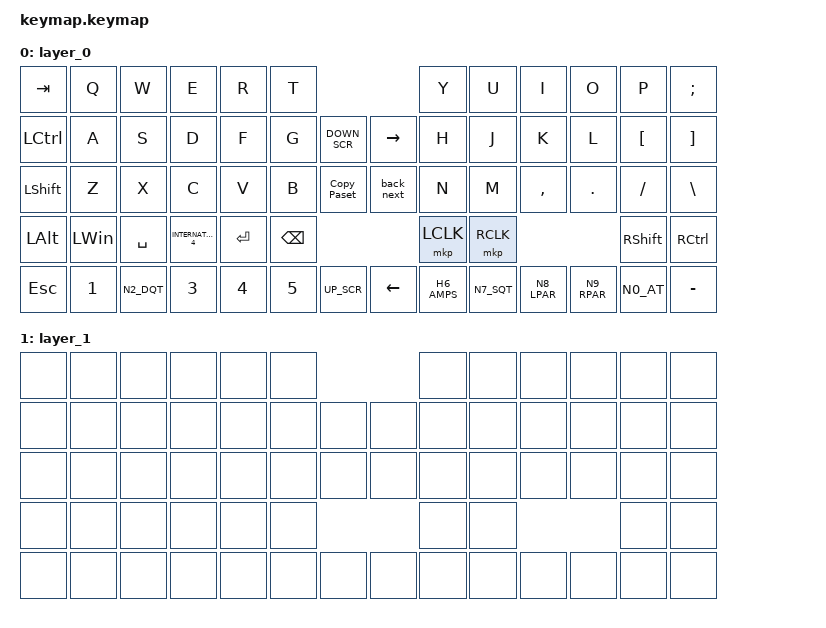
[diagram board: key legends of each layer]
#include <behaviors.dtsi>
#include <dt-bindings/zmk/keys.h>
#include <dt-bindings/zmk/pointing.h>

/ {
    behaviors {
        N2_DQT: N2_DQT {
            compatible = "zmk,behavior-mod-morph";
            label = "N2_DQT";
            bindings = <&kp KP_NUMBER_2>, <&kp DQT>;

            #binding-cells = <0>;
            mods = <(MOD_RSFT|MOD_LSFT)>;
        };

        H6_AMPS: H6_AMPS {
            compatible = "zmk,behavior-mod-morph";
            label = "H6_AMPS";
            bindings = <&kp KP_N6>, <&kp AMPS>;

            #binding-cells = <0>;
            mods = <(MOD_LSFT|MOD_RSFT)>;
        };

        N7_SQT: N7_SQT {
            compatible = "zmk,behavior-mod-morph";
            label = "N7_SQT";
            bindings = <&kp KP_N7>, <&kp SQT>;

            #binding-cells = <0>;
            mods = <(MOD_LSFT|MOD_RSFT)>;
        };

        N8_LPAR: N8_LPAR {
            compatible = "zmk,behavior-mod-morph";
            label = "N8_LPAR";
            bindings = <&kp KP_N8>, <&kp LPAR>;

            #binding-cells = <0>;
            mods = <(MOD_LSFT|MOD_RSFT)>;
        };

        N9_RPAR: N9_RPAR {
            compatible = "zmk,behavior-mod-morph";
            label = "N9_RPAR";
            bindings = <&kp KP_N9>, <&kp RPAR>;

            #binding-cells = <0>;
            mods = <(MOD_LSFT|MOD_RSFT)>;
        };

        N0_AT: N0_AT {
            compatible = "zmk,behavior-mod-morph";
            label = "N0_AT";
            bindings = <&kp KP_N0>, <&kp AT>;

            #binding-cells = <0>;
            mods = <(MOD_LSFT|MOD_RSFT)>;
        };

        UP_SCR: UP_SCR {
            compatible = "zmk,behavior-mod-morph";
            label = "UP_SCR";
            bindings = <&kp UP>, <&kp K_SCROLL_UP>;

            #binding-cells = <0>;
            mods = <(MOD_LSFT|MOD_RCTL)>;
        };

        DOWN_SCR: DOWN_SCR {
            compatible = "zmk,behavior-mod-morph";
            label = "DOWN_SCR";
            bindings = <&kp DOWN>, <&kp K_SCROLL_DOWN>;

            #binding-cells = <0>;
            mods = <(MOD_LSFT|MOD_RSFT)>;
        };

        Copy_Paset: Copy_Paset {
            compatible = "zmk,behavior-mod-morph";
            label = "COPY_PASET";
            bindings = <&kp K_COPY>, <&kp K_PASTE>;

            #binding-cells = <0>;
            mods = <(MOD_LSFT|MOD_RSFT)>;
        };

        back_next: back_next {
            compatible = "zmk,behavior-mod-morph";
            label = "BACK_NEXT";
            bindings = <&kp K_BACK>, <&kp C_NEXT>;

            #binding-cells = <0>;
            mods = <(MOD_LSFT|MOD_RSFT)>;
        };
    };

    keymap {
        compatible = "zmk,keymap";

        layer_0 {
            bindings = <
&kp TAB         &kp Q         &kp W      &kp E                &kp R      &kp T                                   &kp Y      &kp U      &kp I      &kp O     &kp P            &kp SEMICOLON
&kp LCTRL       &kp A         &kp S      &kp D                &kp F      &kp G          &DOWN_SCR    &kp RIGHT   &kp H      &kp J      &kp K      &kp L     &kp LBKT         &kp RBKT
&kp LEFT_SHIFT  &kp Z         &kp X      &kp C                &kp V      &kp B          &Copy_Paset  &back_next  &kp N      &kp M      &kp COMMA  &kp DOT   &kp SLASH        &kp BACKSLASH
&kp LEFT_ALT    &kp LEFT_WIN  &kp SPACE  &kp INTERNATIONAL_4  &kp ENTER  &kp BACKSPACE                           &mkp LCLK  &mkp RCLK                       &kp RIGHT_SHIFT  &kp RCTRL
&kp ESC         &kp N1        &N2_DQT    &kp N3               &kp N4     &kp N5         &UP_SCR      &kp LEFT    &H6_AMPS   &N7_SQT    &N8_LPAR   &N9_RPAR  &N0_AT           &kp MINUS
            >;
        };

        layer_1 {
            bindings = <
&none  &none  &none  &none  &none  &none                &none  &none  &none  &none  &none  &none
&none  &none  &none  &none  &none  &none  &none  &none  &none  &none  &none  &none  &none  &none
&none  &none  &none  &none  &none  &none  &none  &none  &none  &none  &none  &none  &none  &none
&none  &none  &none  &none  &none  &none                &none  &none                &none  &none
&none  &none  &none  &none  &none  &none  &none  &none  &none  &none  &none  &none  &none  &none
            >;
        };
    };
};
